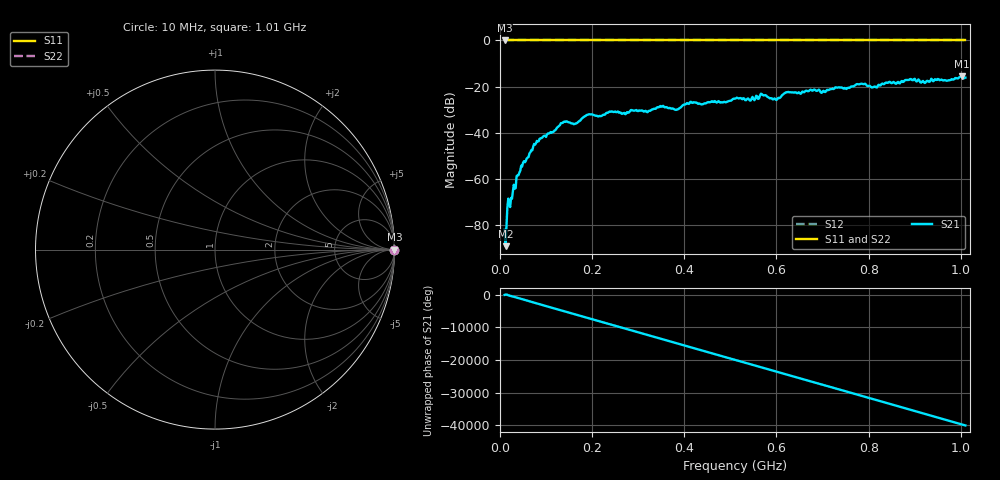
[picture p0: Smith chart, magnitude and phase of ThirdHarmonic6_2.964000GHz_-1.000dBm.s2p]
! 8/17/2025 8:22:25 AM
! C:\ANRITSUVNA\TEMP\TEMP.S2P
! CHANNEL.1
! TR.MEASUREMENT
! RAW.DATA
! RF.CORRECTION.OFF
! AVERAGING.OFF
! IF.BANDWIDTH: 5KHZ
! SWEEPTYPE:  FREQ.SWEEP(Linear)
! Reference Plane Port Info
! PORT:  PORT1  PORT2
! DISTANCE:  0  m  0  m
! TIME:  0  s  0  s
! PHASE.OFFSET:  0  deg.  0  deg.
! LOSS:  0  dB  0  dB
! REF.LOSS:  0  dB  0  dB
! REF.FREQ:  0  Hz  0  Hz
! Power Info
! POWER:  -20  dBm  -20  dBm
! EFF.POWER:  -20  dBm  -20  dBm
! SOURCE.ATTEN:  0  dB  0  dB
! TEST.ATTEN:  0  dB  0  dB
# GHZ S RI R 50.0
! FREQ.GHZ  S11RE  S11IM  S21RE  S21IM  S12RE  S12IM  S22RE  S22IM
!; PortSelection: Port_12
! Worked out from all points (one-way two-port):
!   501 points, 10 MHz to 1.01 GHz, reference 50 ohm
!   highest |S21| = -15.58 dB at 1.002 GHz (marker M1); lowest = -89.0 dB at 12 MHz (marker M2)
!   lowest |S11| = 0.0 dB at 10 MHz (marker M3)
!   |S11| at or under -10 dB: nowhere
!   |S22| runs from 0.0 to 0.0 dB; largest |S21 - S12| = 1.2
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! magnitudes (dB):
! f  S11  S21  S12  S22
! 10 MHz  0.0  -81.9  0.0  0.0
! 12 MHz  0.0  -89.0  0.0  0.0
! 20 MHz  0.0  -70.5  0.0  0.0
! 40 MHz  0.0  -58.3  0.0  0.0
! 76 MHz  0.0  -45.1  0.0  0.0
! 136 MHz  0.0  -35.7  0.0  0.0
! 164 MHz  0.0  -35.9  0.0  0.0
! 178 MHz  0.0  -33.7  0.0  0.0
! 344 MHz  0.0  -28.9  0.0  0.0
! 382 MHz  0.0  -30.0  0.0  0.0
! 416 MHz  0.0  -26.9  0.0  0.0
! 510 MHz  0.0  -25.2  0.0  0.0
! 570 MHz  0.0  -23.5  0.0  0.0
! 596 MHz  0.0  -25.1  0.0  0.0
! 622 MHz  0.0  -22.4  0.0  0.0
! 678 MHz  0.0  -21.7  0.0  0.0
! 702 MHz  0.0  -21.8  0.0  0.0
! 784 MHz  0.0  -18.7  0.0  0.0
! 814 MHz  0.0  -19.9  0.0  0.0
! 844 MHz  0.0  -18.0  0.0  0.0
! 1.002 GHz  0.0  -15.6  0.0  0.0
! 1.01 GHz  0.0  -16.1  0.0  0.0
